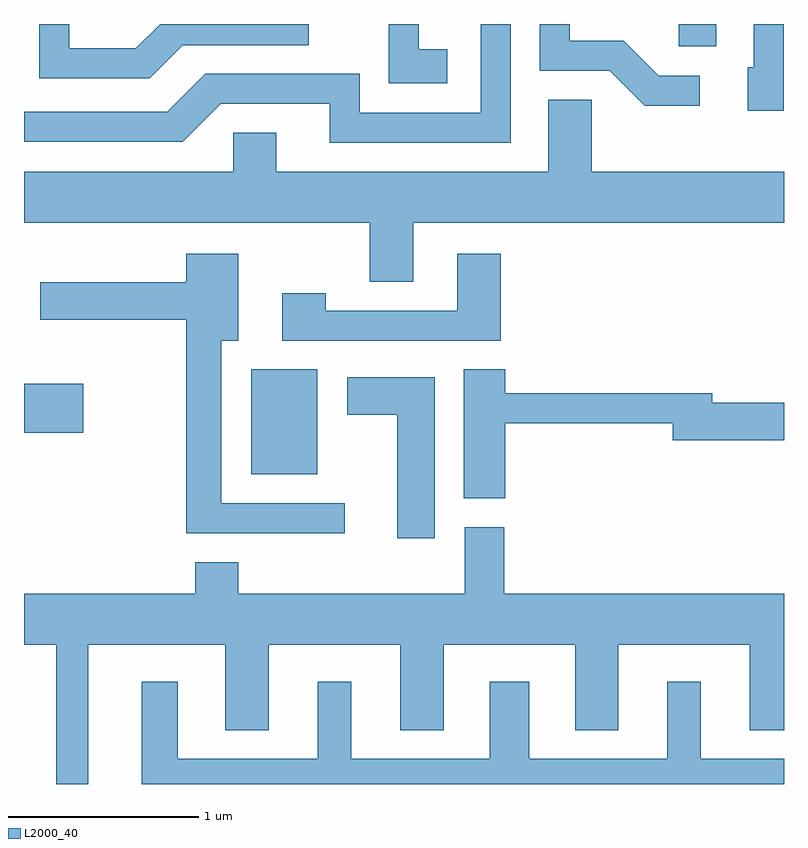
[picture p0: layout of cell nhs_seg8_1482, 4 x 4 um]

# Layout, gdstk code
import gdstk
lib = gdstk.Library(unit=1e-6, precision=1e-09)
def R(c, l, rs):  # rectangles x0, y0, x1, y1
    for r in rs: c.add(gdstk.rectangle(r[:2], r[2:], *l))
def P(c, l, *ps):  # polygons
    for p in ps: c.add(gdstk.Polygon(p, *l))
L2000_40 = (2000, 40)

nhs_seg8_1482 = lib.new_cell('nhs_seg8_1482')
R(nhs_seg8_1482, L2000_40, [(230.806,1843.971,231.154,1844.524), (229.611,1844.191,229.924,1844.449), (233.056,1846.226,233.254,1846.342)])
P(nhs_seg8_1482, L2000_40, [(231.839,1846.209),(231.689,1846.209),(231.689,1846.342),(231.531,1846.342),(231.531,1846.031),(231.839,1846.031)],
  [(233.609,1846.342),(233.451,1846.342),(233.451,1846.114),(233.421,1846.114),(233.421,1845.886),(233.609,1845.886)],
  [(230.447,1846.231),(231.109,1846.231),(231.109,1846.342),(230.327,1846.342),(230.199,1846.214),(229.849,1846.214),(229.849,1846.342),(229.691,1846.342),(229.691,1846.056),(230.272,1846.056)],
  [(233.168,1846.069),(232.952,1846.069),(232.767,1846.254),(232.484,1846.254),(232.484,1846.342),(232.326,1846.342),(232.326,1846.096),(232.694,1846.096),(232.879,1845.911),(233.168,1845.911)],
  [(232.174,1846.342),(232.016,1846.342),(232.016,1845.874),(231.379,1845.874),(231.379,1846.079),(230.564,1846.079),(230.364,1845.879),(229.611,1845.879),(229.611,1845.721),(230.447,1845.721),(230.647,1845.921),(231.221,1845.921),(231.221,1845.716),(232.174,1845.716)],
  [(231.659,1845.296),(233.611,1845.296),(233.611,1845.564),(232.599,1845.564),(232.599,1845.944),(232.371,1845.944),(232.371,1845.564),(230.939,1845.564),(230.939,1845.769),(230.711,1845.769),(230.711,1845.564),(229.611,1845.564),(229.611,1845.296),(231.431,1845.296),(231.431,1844.986),(231.659,1844.986)],
  [(232.119,1845.134),(231.891,1845.134),(231.891,1844.834),(231.199,1844.834),(231.199,1844.924),(230.971,1844.924),(230.971,1844.676),(232.119,1844.676)],
  [(231.298,1843.819),(230.649,1843.819),(230.649,1844.676),(230.739,1844.676),(230.739,1845.134),(230.466,1845.134),(230.466,1844.984),(229.696,1844.984),(229.696,1844.786),(230.466,1844.786),(230.466,1843.661),(231.298,1843.661)],
  [(232.144,1844.241),(233.026,1844.241),(233.026,1844.151),(233.611,1844.151),(233.611,1844.349),(233.234,1844.349),(233.234,1844.399),(232.144,1844.399),(232.144,1844.524),(231.926,1844.524),(231.926,1843.846),(232.144,1843.846)],
  [(231.774,1844.484),(231.311,1844.484),(231.311,1844.286),(231.576,1844.286),(231.576,1843.636),(231.774,1843.636)],
  [(230.739,1843.509),(230.511,1843.509),(230.511,1843.344),(229.611,1843.344),(229.611,1843.076),(229.781,1843.076),(229.781,1842.342),(229.949,1842.342),(229.949,1843.076),(230.671,1843.076),(230.671,1842.626),(230.899,1842.626),(230.899,1843.076),(231.591,1843.076),(231.591,1842.626),(231.819,1842.626),(231.819,1843.076),(232.511,1843.076),(232.511,1842.626),(232.739,1842.626),(232.739,1843.076),(233.431,1843.076),(233.431,1842.626),(233.611,1842.626),(233.611,1843.344),(232.139,1843.344),(232.139,1843.694),(231.931,1843.694),(231.931,1843.344),(230.739,1843.344)],
  [(233.611,1842.474),(233.174,1842.474),(233.174,1842.879),(232.996,1842.879),(232.996,1842.474),(232.269,1842.474),(232.269,1842.879),(232.061,1842.879),(232.061,1842.474),(231.334,1842.474),(231.334,1842.879),(231.156,1842.879),(231.156,1842.474),(230.419,1842.474),(230.419,1842.879),(230.231,1842.879),(230.231,1842.342),(233.611,1842.342)])

lib.write_gds('nhs_seg8_1482.gds')
